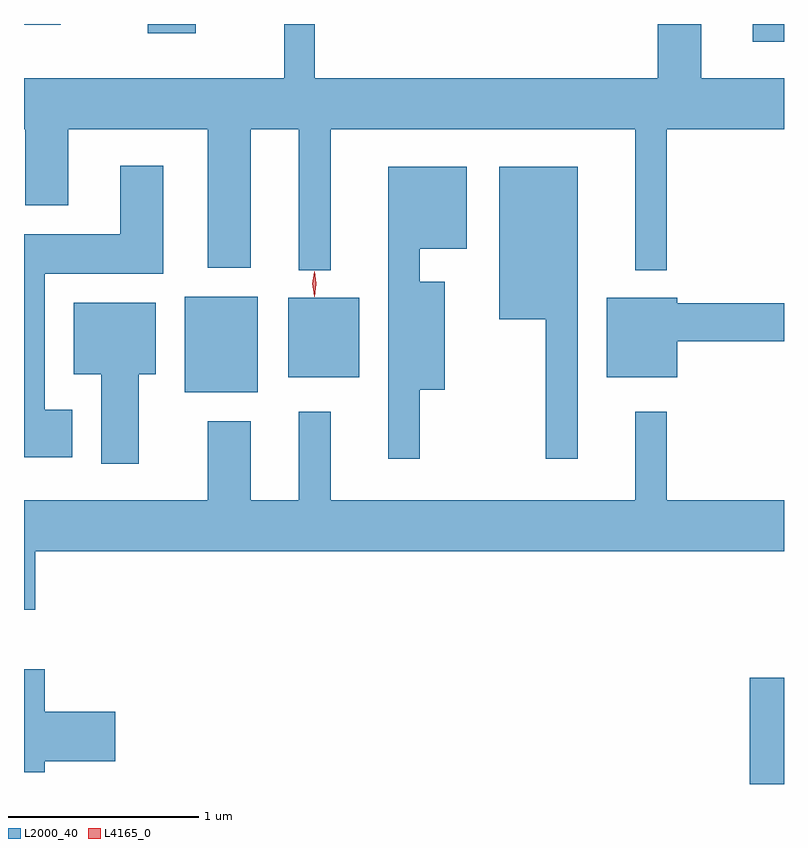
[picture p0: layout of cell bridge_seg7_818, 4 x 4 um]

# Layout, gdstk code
import gdstk
lib = gdstk.Library(unit=1e-6, precision=1e-09)
def R(c, l, rs):  # rectangles x0, y0, x1, y1
    for r in rs: c.add(gdstk.rectangle(r[:2], r[2:], *l))
def P(c, l, *ps):  # polygons
    for p in ps: c.add(gdstk.Polygon(p, *l))
L2000_40 = (2000, 40)
L4165_0 = (4165, 0)

bridge_seg7_818 = lib.new_cell('bridge_seg7_818')
R(bridge_seg7_818, L2000_40, [(223.646,1759.71,223.825,1760.269), (220.671,1761.771,221.054,1762.274), (221.216,1761.851,221.589,1762.269), (223.661,1763.616,223.825,1763.71), (220.476,1763.661,220.729,1763.71), (219.825,1763.706,220.018,1763.71)])
P(bridge_seg7_818, L2000_40, [(221.439,1763.156),(223.041,1763.156),(223.041,1762.413),(223.209,1762.413),(223.209,1763.156),(223.825,1763.156),(223.825,1763.424),(223.389,1763.424),(223.389,1763.71),(223.161,1763.71),(223.161,1763.424),(221.354,1763.424),(221.354,1763.71),(221.196,1763.71),(221.196,1763.424),(219.825,1763.424),(219.825,1763.156),(219.831,1763.156),(219.831,1762.756),(220.059,1762.756),(220.059,1763.156),(220.791,1763.156),(220.791,1762.426),(221.019,1762.426),(221.019,1763.156),(221.271,1763.156),(221.271,1762.413),(221.439,1762.413)],
  [(220.079,1761.679),(219.934,1761.679),(219.934,1762.396),(220.559,1762.396),(220.559,1762.964),(220.331,1762.964),(220.331,1762.604),(219.825,1762.604),(219.825,1761.431),(220.079,1761.431)],
  [(221.909,1761.786),(222.039,1761.786),(222.039,1762.354),(221.909,1762.354),(221.909,1762.526),(222.154,1762.526),(222.154,1762.959),(221.741,1762.959),(221.741,1761.423),(221.909,1761.423)],
  [(222.739,1762.959),(222.326,1762.959),(222.326,1762.156),(222.571,1762.156),(222.571,1761.423),(222.739,1761.423)],
  [(223.264,1762.041),(223.825,1762.041),(223.825,1762.239),(223.264,1762.239),(223.264,1762.269),(222.891,1762.269),(222.891,1761.851),(223.264,1761.851)],
  [(220.429,1761.866),(220.519,1761.866),(220.519,1762.244),(220.086,1762.244),(220.086,1761.866),(220.231,1761.866),(220.231,1761.396),(220.429,1761.396)],
  [(219.884,1760.936),(223.825,1760.936),(223.825,1761.204),(223.209,1761.204),(223.209,1761.668),(223.041,1761.668),(223.041,1761.204),(221.439,1761.204),(221.439,1761.668),(221.271,1761.668),(221.271,1761.204),(221.019,1761.204),(221.019,1761.619),(220.791,1761.619),(220.791,1761.204),(219.825,1761.204),(219.825,1760.626),(219.884,1760.626)],
  [(219.934,1759.831),(220.304,1759.831),(220.304,1760.089),(219.934,1760.089),(219.934,1760.314),(219.825,1760.314),(219.825,1759.771),(219.934,1759.771)])
P(bridge_seg7_818, L4165_0, [(221.353,1762.274),(221.344,1762.342),(221.354,1762.41),(221.355,1762.41),(221.355,1762.41),(221.364,1762.342),(221.354,1762.274),(221.354,1762.274)],
  [(221.353,1762.278),(221.353,1762.279),(221.343,1762.343),(221.353,1762.407),(221.353,1762.407),(221.354,1762.407),(221.364,1762.343),(221.354,1762.279)])

lib.write_gds('bridge_seg7_818.gds')
